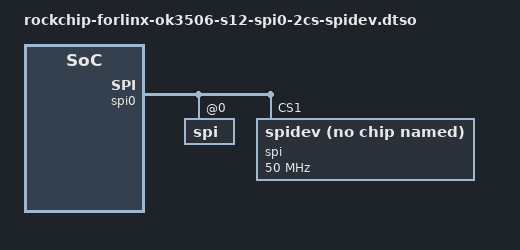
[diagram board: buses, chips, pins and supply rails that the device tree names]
// SPDX-License-Identifier: (GPL-2.0+ OR MIT)
/*
 * Enable spidev on SPI0 with standard RM_IO pinmux:
 * MOSI = RM_IO17, MISO = RM_IO18, CLK = RM_IO16, CS0 = RM_IO19, CS1 = RM_IO15
 * Compatible with Raspberry Pi 'spi0-2cs' hats
 */

/dts-v1/;
/plugin/;

/ {
	metadata {
		title = "Enable SPI0 spidev on forlinx-ok3506-s12 with two chipselects";
		compatible = "forlinx,ok3506";
		category = "spi";
		exclusive = "spi0", "RM_IO16", "RM_IO17", "RM_IO18", "RM_IO19", "RM_IO15";
		description = "Enable SPI0 spidev using RM_IO17(MOSI), RM_IO18(MISO), RM_IO16(CLK), RM_IO19(CS0), RM_IO15(CS1).";
	};
};

&spi0 {
	status = "okay";
	num-cs = <2>;

	spi@0 {
		status = "okay";
	};

	spi@1 {
		compatible = "rockchip,spidev";
		reg = <1>;
		spi-max-frequency = <50000000>;
		status = "okay";
	};
};
